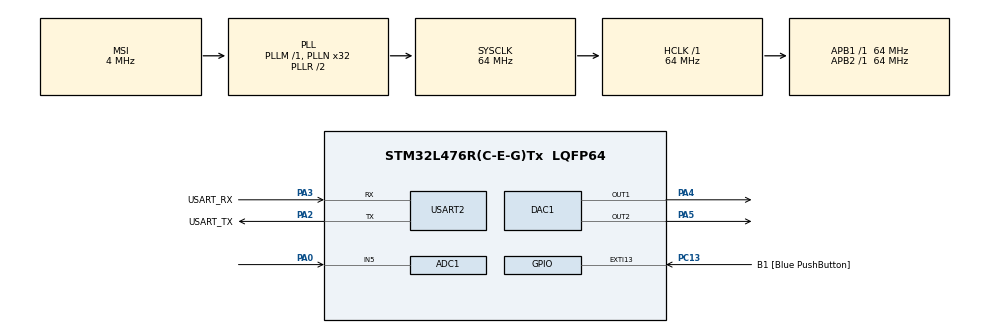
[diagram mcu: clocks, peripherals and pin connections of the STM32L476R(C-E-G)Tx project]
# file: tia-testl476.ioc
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ADC1.Channel-1\#ChannelRegularConversion=ADC_CHANNEL_5
ADC1.ClockPrescaler=ADC_CLOCK_ASYNC_DIV2
ADC1.DMAContinuousRequests=DISABLE
ADC1.EnableRegularConversion=ENABLE
ADC1.ExternalTrigConv=ADC_SOFTWARE_START
ADC1.NbrOfConversion=1
ADC1.NbrOfConversionFlag=1
ADC1.OffsetNumber-1\#ChannelRegularConversion=ADC_OFFSET_NONE
ADC1.Rank-1\#ChannelRegularConversion=1
ADC1.SamplingTime-1\#ChannelRegularConversion=ADC_SAMPLETIME_2CYCLES_5
ADC1.master=1
DAC1.DAC_Channel-DAC_OUT2=DAC_CHANNEL_2
DAC1.DAC_Trigger-DAC_OUT2=DAC_TRIGGER_T6_TRGO
Dma.ADC1.0.Direction=DMA_PERIPH_TO_MEMORY
Dma.ADC1.0.Instance=DMA1_Channel1
Dma.ADC1.0.MemDataAlignment=DMA_MDATAALIGN_HALFWORD
Dma.ADC1.0.MemInc=DMA_MINC_ENABLE
Dma.ADC1.0.Mode=DMA_CIRCULAR
Dma.ADC1.0.PeriphDataAlignment=DMA_PDATAALIGN_HALFWORD
Dma.ADC1.0.PeriphInc=DMA_PINC_DISABLE
Dma.ADC1.0.Priority=DMA_PRIORITY_LOW
Dma.DAC_CH2.1.Direction=DMA_MEMORY_TO_PERIPH
Dma.DAC_CH2.1.Instance=DMA1_Channel4
Dma.DAC_CH2.1.MemDataAlignment=DMA_MDATAALIGN_WORD
Dma.DAC_CH2.1.MemInc=DMA_MINC_ENABLE
Dma.DAC_CH2.1.Mode=DMA_CIRCULAR
Dma.DAC_CH2.1.PeriphDataAlignment=DMA_PDATAALIGN_WORD
Dma.DAC_CH2.1.PeriphInc=DMA_PINC_DISABLE
Dma.DAC_CH2.1.Priority=DMA_PRIORITY_LOW
Dma.Request0=ADC1
Dma.Request1=DAC_CH2
Mcu.Family=STM32L4
Mcu.Name=STM32L476R(C-E-G)Tx
Mcu.Package=LQFP64
NVIC.ADC1_2_IRQn=true\:0\:0\:false\:false\:true\:true\:true\:true
NVIC.DMA1_Channel1_IRQn=true\:0\:0\:false\:false\:true\:false\:true\:true
NVIC.DMA1_Channel4_IRQn=true\:0\:0\:false\:false\:true\:false\:true\:true
NVIC.PriorityGroup=NVIC_PRIORITYGROUP_4
NVIC.TIM6_DAC_IRQn=true\:0\:0\:false\:false\:true\:true\:true\:true
PA0.Signal=ADCx_IN5
PA13\ (JTMS-SWDIO).GPIO_Label=TMS
PA13\ (JTMS-SWDIO).Signal=SYS_JTMS-SWDIO
PA14\ (JTCK-SWCLK).GPIO_Label=TCK
PA14\ (JTCK-SWCLK).Signal=SYS_JTCK-SWCLK
PA2.GPIO_Label=USART_TX
PA2.GPIO_Mode=GPIO_MODE_AF_PP
PA2.GPIO_PuPd=GPIO_NOPULL
PA2.GPIO_Speed=GPIO_SPEED_FREQ_VERY_HIGH
PA2.Mode=Asynchronous
PA2.Signal=USART2_TX
PA3.GPIO_Label=USART_RX
PA3.GPIO_Mode=GPIO_MODE_AF_PP
PA3.GPIO_PuPd=GPIO_NOPULL
PA3.GPIO_Speed=GPIO_SPEED_FREQ_VERY_HIGH
PA3.Mode=Asynchronous
PA3.Signal=USART2_RX
PA4.Signal=COMP_DAC11_group
PA5.Signal=COMP_DAC12_group
PB3\ (JTDO-TRACESWO).GPIO_Label=SWO
PB3\ (JTDO-TRACESWO).Signal=SYS_JTDO-SWO
PC13.GPIO_Label=B1 [Blue PushButton]
PC13.GPIO_ModeDefaultEXTI=GPIO_MODE_IT_FALLING
PC13.GPIO_PuPd=GPIO_NOPULL
PC13.Signal=GPXTI13
PC14-OSC32_IN\ (PC14).Signal=RCC_OSC32_IN
PC15-OSC32_OUT\ (PC15).Signal=RCC_OSC32_OUT
PH0-OSC_IN\ (PH0).Signal=RCC_OSC_IN
PH1-OSC_OUT\ (PH1).Signal=RCC_OSC_OUT
ProjectManager.HeapSize=0x200
ProjectManager.StackSize=0x400
ProjectManager.TargetToolchain=STM32CubeIDE
RCC.ADCFreq_Value=8000000
RCC.AHBFreq_Value=64000000
RCC.APB1Freq_Value=64000000
RCC.APB1TimFreq_Value=64000000
RCC.APB2Freq_Value=64000000
RCC.APB2TimFreq_Value=64000000
RCC.CortexFreq_Value=64000000
RCC.HCLKFreq_Value=64000000
RCC.HSE_VALUE=8000000
RCC.HSI_VALUE=16000000
RCC.LSE_VALUE=32768
RCC.MSI_VALUE=4000000
RCC.PLLN=32
RCC.PLLSAI1N=16
RCC.PLLSAI1R=RCC_PLLR_DIV8
RCC.PREFETCH_ENABLE=1
RCC.SYSCLKFreq_VALUE=64000000
RCC.SYSCLKSource=RCC_SYSCLKSOURCE_PLLCLK
RCC.USBFreq_Value=32000000
RCC.VCOOutputFreq_Value=128000000
SH.ADCx_IN5.0=ADC1_IN5,IN5-Single-Ended
SH.COMP_DAC11_group.0=DAC1_OUT1,DAC_OUT1
SH.COMP_DAC12_group.0=DAC1_OUT2,DAC_OUT2
TIM1.Period=9
TIM1.Prescaler=624
TIM1.TIM_MasterOutputTrigger=TIM_TRGO_UPDATE
TIM1.TIM_MasterOutputTrigger2=TIM_TRGO2_UPDATE
TIM1.TIM_MasterSlaveMode=TIM_MASTERSLAVEMODE_ENABLE
TIM6.Period=9
TIM6.Prescaler=63
TIM6.TIM_MasterOutputTrigger=TIM_TRGO_UPDATE
USART2.VirtualMode-Asynchronous=VM_ASYNC
VP_TIM1_VS_ClockSourceINT.Mode=Internal
VP_TIM6_VS_ClockSourceINT.Mode=Enable_Timer
board=NUCLEO-L476RG

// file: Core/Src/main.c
/* USER CODE BEGIN Header */
/**
  ******************************************************************************
  * @file           : main.c
  * @brief          : Main program body
  ******************************************************************************
  * @attention
  *
  * Copyright (c) 2025 STMicroelectronics.
  * All rights reserved.
  *
  * This software is licensed under terms that can be found in the LICENSE file
  * in the root directory of this software component.
  * If no LICENSE file comes with this software, it is provided AS-IS.
  *
  ******************************************************************************
  */
/* USER CODE END Header */
#include "main.h"

/* USER CODE BEGIN Includes */
#define ARM_MATH_CM4
#include "arm_math.h"
#include "math.h"
#define PI 3.1415926
#define TOLERANCE 1e-5
/* USER CODE END Includes */

ADC_HandleTypeDef hadc1;
DMA_HandleTypeDef hdma_adc1;

DAC_HandleTypeDef hdac1;
DMA_HandleTypeDef hdma_dac_ch2;

TIM_HandleTypeDef htim1;
TIM_HandleTypeDef htim6;

UART_HandleTypeDef huart2;

/* USER CODE BEGIN PV */
#define FFT_BUFFER_SIZE 2048
#define SAMPLE_FREQ 10240
#define FFT_AVRAGE_COUNT 10

uint32_t sine_val[100];
uint16_t hanning_array[FFT_BUFFER_SIZE];

double getPhaseAngle(int val) {
  // Reverse the transformation steps
  double temp = (val - 200) * 5;           // Reverse the +200 and division by 5
  double normalized = temp / 2048.0;       // Reverse the multiplication by 2048
  double sine_val = normalized - 1.0;      // Reverse the +1

  // Ensure sine_val is within valid range [-1, 1] for arcsin
  if (sine_val < -1.0 || sine_val > 1.0) {
      return NAN; // Invalid input, return Not-A-Number
  }

  // Calculate the phase angle in radians using arcsin
  double phase_rad = asin(sine_val);

  return phase_rad;  // Return the phase angle in radians
}

void calcsin ()
{
	for (int i=0; i<100; i++)
	{
		sine_val[i] = ((sin(i*2*PI/100) + 1)*(4096/2))/5+200;
	}
}

void calchanning(){
	for (int i = 0; i < FFT_BUFFER_SIZE; i++) {
	        hanning_array[i] = (int)(0.5 * (1 - cos(2 * M_PI * i / (FFT_BUFFER_SIZE - 1))) * 4096);
	    }
}
//only j1 and j2
float bessel_jn(uint8_t n, float x) {
    float sum = 0.0;
    float term;
    uint16_t k = 0;

    do {
        term = pow(-1, k) * pow(x / 2.0, 2 * k + n) / (tgamma(k + 1) * tgamma(k + n + 1));
        sum += term;
        k++;
    } while (fabs(term) > TOLERANCE);

    return sum;
}

int sgn(float x) {
    if(x>=0){
    	return 1;
    }
    else{
    	return -1;
    }
}
float arccot(float x) {
    return (PI / 2.0) - atan(x);
}

arm_rfft_fast_instance_f32 fftHandler;
uint16_t ADC_val[FFT_BUFFER_SIZE*2] = {0};
float fftBufIn1[FFT_BUFFER_SIZE]= {0.0};
float fftBufIn2[FFT_BUFFER_SIZE]= {0.0};
float fftBufOut[FFT_BUFFER_SIZE];
uint8_t fftflag = 0;
static int16_t fftIndex = 0;
uint8_t data[50] = {0};
uint16_t fft_count = 0;
//avg used for noise
uint32_t avg =0;
//calculate # sample is 1khz

uint16_t sample_count_1khz = (1000*FFT_BUFFER_SIZE)/SAMPLE_FREQ;
uint32_t freq_mag[3]={0};
float avgPhaseShift = 0.0;
float avgPhase1 = 0.0;
float avgPhase2 = 0.0;

/* USER CODE END PV */

void SystemClock_Config(void);
static void MX_GPIO_Init(void);
static void MX_DMA_Init(void);
static void MX_ADC1_Init(void);
static void MX_DAC1_Init(void);
static void MX_TIM6_Init(void);
static void MX_TIM1_Init(void);
static void MX_USART2_UART_Init(void);

/* USER CODE BEGIN 0 */
uint32_t Read_ADC(void) {
    HAL_ADC_Start(&hadc1);
    HAL_ADC_PollForConversion(&hadc1, HAL_MAX_DELAY);
    return HAL_ADC_GetValue(&hadc1);
}

void HAL_ADC_ConvHalfCpltCallback(ADC_HandleTypeDef *hadc) {
  for (int i = 0; i < FFT_BUFFER_SIZE ; i++) {
fftBufIn1[i] = (float)(ADC_val[i]*hanning_array[i]);
  }
  //sprintf(data, "half buffer\r\n\n ");
  //HAL_UART_Transmit(&huart2, data, strlen(data), 100);
  Calc_FFT(fftBufIn1);
}

void HAL_ADC_ConvCpltCallback(ADC_HandleTypeDef *hadc) {
for (int i = 0; i < FFT_BUFFER_SIZE; i++) {
fftBufIn2[i] = (float)(ADC_val[i]*hanning_array[i]);
  }
  //sprintf(data, "full buffer\r\n\n " );
  //HAL_UART_Transmit(&huart2, data, strlen(data), 100);
  Calc_FFT(fftBufIn2);
}

void Calc_FFT(float *fftBufIn ){

arm_rfft_fast_f32(&fftHandler, fftBufIn, &fftBufOut,0);

float phase_1khz = 0.0f, phase_2khz = 0.0f;
//calc freqmagnitude for 1,2,3khz
float phase_shift_diff = 0.0;
float dacval = 0.0f;
for (int i = sample_count_1khz; i <= sample_count_1khz*3; i +=sample_count_1khz){
      float real = fftBufOut[2*i ];
      float imag = fftBufOut[(2*i) + 1];
      float curVal = sqrtf((real * real) + (imag * imag));
      float phase = atan2f(imag, real);
      if (i == sample_count_1khz) {
          phase_1khz = phase;
      } else if (i == sample_count_1khz * 2) {
          phase_2khz = phase;
          phase_shift_diff = phase_2khz;
          //dacval= getPhaseAngle(HAL_DAC_GetValue(&hdac1, DAC1_CHANNEL_2));

      }

  freq_mag[i/sample_count_1khz-1]+=((uint32_t)curVal)/1000;
    //sprintf(data, "%d \r\n", (int16_t)(dacval*1000));
    //HAL_UART_Transmit(&huart2, data, strlen(data), 100);

}
//sprintf(data, "%d ", (int16_t)(phase_2khz*1000));
//HAL_UART_Transmit(&huart2, data, strlen(data), 100);

  avgPhaseShift += phase_shift_diff;
  fft_count++;

  uint32_t avgTemp = 0;

  for (int i = 4; i < FFT_BUFFER_SIZE; i +=2){
    float curVal = sqrtf((fftBufOut[i]*fftBufOut[i])+ (fftBufOut[i+1]*fftBufOut[i+1]));
    avgTemp += ((uint32_t)curVal)/1000;  // Convert float to

  }
  avg += ((uint32_t)avgTemp/((FFT_BUFFER_SIZE / 2)-2));

//old code, peakHz detector
/*
uint16_t freqIndex = 0;
float peakVal =0.0;
uint16_t peakHz = 0;
for (int i = 0; i < FFT_BUFFER_SIZE; i +=2){
 float curVal = sqrtf((fftBufOut[i]*fftBufOut[i])+ (fftBufOut[i+1]*fftBufOut[i+1]));
 uint16_t fft_value = (uint32_t)curVal;  // Convert float to

 if(curVal> peakVal){
   if(i>2){
    peakVal = curVal;
   }
   peakHz = (uint16_t)(((freqIndex)*SAMPLE_FREQ)/FFT_BUFFER_SIZE);
 }
freqIndex++;

}

sprintf(data, "peakhz: %d ",peakHz);
       HAL_UART_Transmit(&huart2, data, strlen(data), 100);

  freqIndex = 0;
*/

}
/* USER CODE END 0 */

int main(void)
{

  /* MCU Configuration--------------------------------------------------------*/

  /* Reset of all peripherals, Initializes the Flash interface and the Systick. */
  HAL_Init();

  /* Configure the system clock */
  SystemClock_Config();

  /* Initialize all configured peripherals */
  MX_GPIO_Init();
  MX_DMA_Init();
  MX_ADC1_Init();
  MX_DAC1_Init();
  MX_TIM6_Init();
  MX_TIM1_Init();
  MX_USART2_UART_Init();
  /* USER CODE BEGIN 2 */

  //start sweep for mzm bias and calculate bias on midpoint between min and max output current
#define STEP_SIZE_BIAS_SWEEP 16
  uint32_t adc_val[128]={0};
  uint16_t dac_val[128]={0};
  uint16_t index_adc_val_smallest=0;
  uint16_t index_adc_val_highest=0;
  HAL_DAC_Start(&hdac1,DAC_CHANNEL_1);
  Read_ADC();
  /*for(int i = 0; i< 2048; i+=STEP_SIZE_BIAS_SWEEP){
	  //take avrage of 10values
	  sprintf(data, "set to:%d\r\n\n ",i);
	  HAL_UART_Transmit(&huart2, data, strlen(data), 100);
	  HAL_DAC_SetValue(&hdac1, DAC_CHANNEL_1,DAC_ALIGN_12B_R, i);
	  for(int j = 0; j<20;j++){
		  HAL_Delay(2);
		  adc_val[i/STEP_SIZE_BIAS_SWEEP] += Read_ADC();
	  }
	  //keep highest and lowest adc values
	  if(adc_val[i/STEP_SIZE_BIAS_SWEEP]>=adc_val[index_adc_val_highest]){
		  index_adc_val_highest = i/STEP_SIZE_BIAS_SWEEP;
	  }else if(adc_val[i/STEP_SIZE_BIAS_SWEEP]<=adc_val[index_adc_val_smallest]){
		  index_adc_val_smallest = i/STEP_SIZE_BIAS_SWEEP;
	  }
	  dac_val[i/STEP_SIZE_BIAS_SWEEP] = i;
	  HAL_Delay(10);
  }
  //set dac to midpoint   */
  uint16_t midpoint_dac_val = dac_val[(index_adc_val_highest + index_adc_val_smallest) / 2];

  midpoint_dac_val = 0;
  HAL_DAC_SetValue(&hdac1, DAC_CHANNEL_1, DAC_ALIGN_12B_R, midpoint_dac_val  );
  sprintf(data, "bias set as:%d\r\n\n ",midpoint_dac_val);
  HAL_UART_Transmit(&huart2, data, strlen(data), 100);

  //reset the adc
  HAL_ADC_Stop(&hadc1);
  //ADC_Disable(&hadc1);
  MX_ADC1_Init2();

  HAL_TIM_Base_Start(&htim6);
  calcsin();
  calchanning();
  HAL_ADCEx_Calibration_Start(&hadc1, ADC_SINGLE_ENDED);
  HAL_DAC_Start_DMA(&hdac1, DAC1_CHANNEL_2, sine_val, 100, DAC_ALIGN_12B_R);
  HAL_ADC_Start_DMA(&hadc1,(uint32_t *)ADC_val,FFT_BUFFER_SIZE*2);
  arm_rfft_fast_init_f32(&fftHandler,FFT_BUFFER_SIZE);
  HAL_TIM_Base_Start(&htim1);

  /* USER CODE END 2 */

  /* Infinite loop */
  /* USER CODE BEGIN WHILE */
  uint16_t dac_val_tone_bias[3]={0};
  uint32_t adc_val_tone_bias[3]={0};
  int16_t sweep_count = -1;
  uint16_t prev_bias = 0;
  while (1)
  {

	  //for(int sweep = midpoint_dac_val-STEP_SIZE_BIAS_SWEEP; i<midpoint_dac_val+STEP_SIZE_BIAS_SWEEP; i+=STEP_SIZE_BIAS_SWEEP)
	  //sweep through best known value of bias, one below and one above
	  if(fft_count>=FFT_AVRAGE_COUNT){
		  float phaseShift = avgPhaseShift/ fft_count;

  		  //sprintf(data, "2khz: %d,1khz: %d \r\n\n", (int16_t)(avgPhase2*1000),(int16_t)(avgPhase1*1000));
  		  //HAL_UART_Transmit(&huart2, data, strlen(data), 100);

		  fft_count=0;
		  sprintf(data, "dac: %d 1khz: %d 2khz: %d 3khz: %d\r\n ",midpoint_dac_val,freq_mag[0], freq_mag[1] ,freq_mag[2]);
		  HAL_UART_Transmit(&huart2, data, strlen(data), 100);
		    if (phaseShift> PI) {
		    	//phaseShift -= 2 * PI;
		    } else if (phaseShift < PI) {
		    	//phaseShift+= 2 * PI;
		    }

			  //sprintf(data, "dac: %d phase shift: %d\r\n ",midpoint_dac_val,(int16_t)(phaseShift*1000));
			  //HAL_UART_Transmit(&huart2, data, strlen(data), 100);
		  // divided by 4096# points dac multiplied by non inverting amp 14.124 = 3.3V*82k/25k+1

			  //code from paper
		  //float Vpi = ((midpoint_dac_val*13.724)/4096.0)*2;
		  //float Vac = 0.66;
		  //float correction =(Vpi/PI*arccot(((float)freq_mag[1]*bessel_jn(1,((Vac*PI)/Vpi)))/((float)freq_mag[0]*bessel_jn(2,((Vac*PI)/Vpi))))*sgn(phaseShift));//-(Vpi/2);
		  //midpoint_dac_val = midpoint_dac_val - (int16_t)((correction/13.724)*4096);
		  //fixed offset
			  //sprintf(data, "avg: %d\r\n\n ",avg);
			  //HAL_UART_Transmit(&huart2, data, strlen(data), 100);
		  if(freq_mag[1]> 0){
			  float correction2 =5*sgn(avgPhase2);
			  midpoint_dac_val= midpoint_dac_val+2;
			  if(midpoint_dac_val>3700){
				  midpoint_dac_val = 0;
			  }
			  //sprintf(data, "correction: %d\r\n\n ",(int16_t)(correction2));
			  //HAL_UART_Transmit(&huart2, data, strlen(data), 100);
		  }
		  avg = 0;
		  //sprintf(data, "new dac val: %d\r\n\n ",midpoint_dac_val);
		  //HAL_UART_Transmit(&huart2, data, strlen(data), 100);
		  HAL_DAC_SetValue(&hdac1, DAC_CHANNEL_1, DAC_ALIGN_12B_R, midpoint_dac_val);

	  		fft_count=0;
	  		avgPhaseShift = 0;
			  for(int i =0;i<=2;i++){
				  freq_mag[i]=0;
			  }
			  fft_count=0;
	  }

/*
	  //for(int sweep = midpoint_dac_val-STEP_SIZE_BIAS_SWEEP; i<midpoint_dac_val+STEP_SIZE_BIAS_SWEEP; i+=STEP_SIZE_BIAS_SWEEP)
	  //sweep through best known value of bias, one below and one above

	  if(fft_count>=FFT_AVRAGE_COUNT){
		  sprintf(data, "main");
		  HAL_UART_Transmit(&huart2, data, strlen(data), 100);
		  float phaseShift = avgPhaseShift/= fft_count;

		  fft_count=0;
		    if (phaseShift> PI) {
		    	phaseShift -= 2 * PI;
		    } else if (phaseShift < -PI) {
		    	phaseShift+= 2 * PI;
		    }
		  // divided by 4096# points dac multiplied by non inverting amp 14.124 = 3.3V*82k/25k+1
		  float Vpi = ((midpoint_dac_val*14.124)/4096.0)*2;
		  float Vac = 0.66;
		  float correction =(Vpi/PI*arccot((freq_mag[0]*bessel_jn(1,((Vac*PI)/Vpi)))/(freq_mag[1]*bessel_jn(2,((Vac*PI)/Vpi))))*sgn(avgPhaseShift))-(Vpi/2);
		  sprintf(data, "correction: %d\r\n\n ",(uint16_t)correction);
		  HAL_UART_Transmit(&huart2, data, strlen(data), 100);

		  midpoint_dac_val = midpoint_dac_val + (uint16_t)((correction/14.124)*4096);
		  HAL_DAC_SetValue(&hdac1, DAC_CHANNEL_1, DAC_ALIGN_12B_R, midpoint_dac_val);

		  //process data here

	  		fft_count=0;
	  		avgPhaseShift = 0;
			  for(int i =0;i<=2;i++){
				  freq_mag[i]=0;
			  }
			  fft_count=0;
	  }
	  */

    /* USER CODE END WHILE */

  }
}

void SystemClock_Config(void)
{
  RCC_OscInitTypeDef RCC_OscInitStruct = {0};
  RCC_ClkInitTypeDef RCC_ClkInitStruct = {0};

  /** Configure the main internal regulator output voltage
  */
  if (HAL_PWREx_ControlVoltageScaling(PWR_REGULATOR_VOLTAGE_SCALE1) != HAL_OK)
  {
    Error_Handler();
  }

  /** Initializes the RCC Oscillators according to the specified parameters
  * in the RCC_OscInitTypeDef structure.
  */
  RCC_OscInitStruct.OscillatorType = RCC_OSCILLATORTYPE_MSI;
  RCC_OscInitStruct.MSIState = RCC_MSI_ON;
  RCC_OscInitStruct.MSICalibrationValue = 0;
  RCC_OscInitStruct.MSIClockRange = RCC_MSIRANGE_6;
  RCC_OscInitStruct.PLL.PLLState = RCC_PLL_ON;
  RCC_OscInitStruct.PLL.PLLSource = RCC_PLLSOURCE_MSI;
  RCC_OscInitStruct.PLL.PLLM = 1;
  RCC_OscInitStruct.PLL.PLLN = 32;
  RCC_OscInitStruct.PLL.PLLP = RCC_PLLP_DIV7;
  RCC_OscInitStruct.PLL.PLLQ = RCC_PLLQ_DIV2;
  RCC_OscInitStruct.PLL.PLLR = RCC_PLLR_DIV2;
  if (HAL_RCC_OscConfig(&RCC_OscInitStruct) != HAL_OK)
  {
    Error_Handler();
  }

  /** Initializes the CPU, AHB and APB buses clocks
  */
  RCC_ClkInitStruct.ClockType = RCC_CLOCKTYPE_HCLK|RCC_CLOCKTYPE_SYSCLK
                              |RCC_CLOCKTYPE_PCLK1|RCC_CLOCKTYPE_PCLK2;
  RCC_ClkInitStruct.SYSCLKSource = RCC_SYSCLKSOURCE_PLLCLK;
  RCC_ClkInitStruct.AHBCLKDivider = RCC_SYSCLK_DIV1;
  RCC_ClkInitStruct.APB1CLKDivider = RCC_HCLK_DIV1;
  RCC_ClkInitStruct.APB2CLKDivider = RCC_HCLK_DIV1;

  if (HAL_RCC_ClockConfig(&RCC_ClkInitStruct, FLASH_LATENCY_3) != HAL_OK)
  {
    Error_Handler();
  }
}

static void MX_ADC1_Init(void)
{

  ADC_MultiModeTypeDef multimode = {0};
  ADC_ChannelConfTypeDef sConfig = {0};

  /** Common config
  */
  hadc1.Instance = ADC1;
  hadc1.Init.ClockPrescaler = ADC_CLOCK_ASYNC_DIV2;
  hadc1.Init.Resolution = ADC_RESOLUTION_12B;
  hadc1.Init.DataAlign = ADC_DATAALIGN_RIGHT;
  hadc1.Init.ScanConvMode = ADC_SCAN_DISABLE;
  hadc1.Init.EOCSelection = ADC_EOC_SINGLE_CONV;
  hadc1.Init.LowPowerAutoWait = DISABLE;
  hadc1.Init.ContinuousConvMode = DISABLE;
  hadc1.Init.NbrOfConversion = 1;
  hadc1.Init.DiscontinuousConvMode = DISABLE;
  hadc1.Init.ExternalTrigConv = ADC_SOFTWARE_START;
  hadc1.Init.ExternalTrigConvEdge = ADC_EXTERNALTRIGCONVEDGE_NONE;
  hadc1.Init.DMAContinuousRequests = DISABLE;
  hadc1.Init.Overrun = ADC_OVR_DATA_PRESERVED;
  hadc1.Init.OversamplingMode = DISABLE;
  if (HAL_ADC_Init(&hadc1) != HAL_OK)
  {
    Error_Handler();
  }

  /** Configure the ADC multi-mode
  */
  multimode.Mode = ADC_MODE_INDEPENDENT;
  if (HAL_ADCEx_MultiModeConfigChannel(&hadc1, &multimode) != HAL_OK)
  {
    Error_Handler();
  }

  /** Configure Regular Channel
  */
  sConfig.Channel = ADC_CHANNEL_5;
  sConfig.Rank = ADC_REGULAR_RANK_1;
  sConfig.SamplingTime = ADC_SAMPLETIME_2CYCLES_5;
  sConfig.SingleDiff = ADC_SINGLE_ENDED;
  sConfig.OffsetNumber = ADC_OFFSET_NONE;
  sConfig.Offset = 0;
  if (HAL_ADC_ConfigChannel(&hadc1, &sConfig) != HAL_OK)
  {
    Error_Handler();
  }

}

static void MX_DAC1_Init(void)
{

  DAC_ChannelConfTypeDef sConfig = {0};

  /** DAC Initialization
  */
  hdac1.Instance = DAC1;
  if (HAL_DAC_Init(&hdac1) != HAL_OK)
  {
    Error_Handler();
  }

  /** DAC channel OUT1 config
  */
  sConfig.DAC_SampleAndHold = DAC_SAMPLEANDHOLD_DISABLE;
  sConfig.DAC_Trigger = DAC_TRIGGER_NONE;
  sConfig.DAC_OutputBuffer = DAC_OUTPUTBUFFER_ENABLE;
  sConfig.DAC_ConnectOnChipPeripheral = DAC_CHIPCONNECT_DISABLE;
  sConfig.DAC_UserTrimming = DAC_TRIMMING_FACTORY;
  if (HAL_DAC_ConfigChannel(&hdac1, &sConfig, DAC_CHANNEL_1) != HAL_OK)
  {
    Error_Handler();
  }

  /** DAC channel OUT2 config
  */
  sConfig.DAC_Trigger = DAC_TRIGGER_T6_TRGO;
  if (HAL_DAC_ConfigChannel(&hdac1, &sConfig, DAC_CHANNEL_2) != HAL_OK)
  {
    Error_Handler();
  }

}

static void MX_TIM1_Init(void)
{

  TIM_ClockConfigTypeDef sClockSourceConfig = {0};
  TIM_MasterConfigTypeDef sMasterConfig = {0};

  htim1.Instance = TIM1;
  htim1.Init.Prescaler = 624;
  htim1.Init.CounterMode = TIM_COUNTERMODE_UP;
  htim1.Init.Period = 9;
  htim1.Init.ClockDivision = TIM_CLOCKDIVISION_DIV1;
  htim1.Init.RepetitionCounter = 0;
  htim1.Init.AutoReloadPreload = TIM_AUTORELOAD_PRELOAD_DISABLE;
  if (HAL_TIM_Base_Init(&htim1) != HAL_OK)
  {
    Error_Handler();
  }
  sClockSourceConfig.ClockSource = TIM_CLOCKSOURCE_INTERNAL;
  if (HAL_TIM_ConfigClockSource(&htim1, &sClockSourceConfig) != HAL_OK)
  {
    Error_Handler();
  }
  sMasterConfig.MasterOutputTrigger = TIM_TRGO_UPDATE;
  sMasterConfig.MasterOutputTrigger2 = TIM_TRGO2_UPDATE;
  sMasterConfig.MasterSlaveMode = TIM_MASTERSLAVEMODE_ENABLE;
  if (HAL_TIMEx_MasterConfigSynchronization(&htim1, &sMasterConfig) != HAL_OK)
  {
    Error_Handler();
  }

}

static void MX_TIM6_Init(void)
{

  TIM_MasterConfigTypeDef sMasterConfig = {0};

  htim6.Instance = TIM6;
  htim6.Init.Prescaler = 63;
  htim6.Init.CounterMode = TIM_COUNTERMODE_UP;
  htim6.Init.Period = 9;
  htim6.Init.AutoReloadPreload = TIM_AUTORELOAD_PRELOAD_DISABLE;
  if (HAL_TIM_Base_Init(&htim6) != HAL_OK)
  {
    Error_Handler();
  }
  sMasterConfig.MasterOutputTrigger = TIM_TRGO_UPDATE;
  sMasterConfig.MasterSlaveMode = TIM_MASTERSLAVEMODE_DISABLE;
  if (HAL_TIMEx_MasterConfigSynchronization(&htim6, &sMasterConfig) != HAL_OK)
  {
    Error_Handler();
  }

}

static void MX_USART2_UART_Init(void)
{

  huart2.Instance = USART2;
  huart2.Init.BaudRate = 115200;
  huart2.Init.WordLength = UART_WORDLENGTH_8B;
  huart2.Init.StopBits = UART_STOPBITS_1;
  huart2.Init.Parity = UART_PARITY_NONE;
  huart2.Init.Mode = UART_MODE_TX_RX;
  huart2.Init.HwFlowCtl = UART_HWCONTROL_NONE;
  huart2.Init.OverSampling = UART_OVERSAMPLING_16;
  huart2.Init.OneBitSampling = UART_ONE_BIT_SAMPLE_DISABLE;
  huart2.AdvancedInit.AdvFeatureInit = UART_ADVFEATURE_NO_INIT;
  if (HAL_UART_Init(&huart2) != HAL_OK)
  {
    Error_Handler();
  }

}

static void MX_DMA_Init(void)
{

  /* DMA controller clock enable */
  __HAL_RCC_DMA1_CLK_ENABLE();

  /* DMA interrupt init */
  /* DMA1_Channel1_IRQn interrupt configuration */
  HAL_NVIC_SetPriority(DMA1_Channel1_IRQn, 0, 0);
  HAL_NVIC_EnableIRQ(DMA1_Channel1_IRQn);
  /* DMA1_Channel4_IRQn interrupt configuration */
  HAL_NVIC_SetPriority(DMA1_Channel4_IRQn, 0, 0);
  HAL_NVIC_EnableIRQ(DMA1_Channel4_IRQn);

}

static void MX_GPIO_Init(void)
{
  GPIO_InitTypeDef GPIO_InitStruct = {0};

  /* GPIO Ports Clock Enable */
  __HAL_RCC_GPIOC_CLK_ENABLE();
  __HAL_RCC_GPIOH_CLK_ENABLE();
  __HAL_RCC_GPIOA_CLK_ENABLE();
  __HAL_RCC_GPIOB_CLK_ENABLE();

  /*Configure GPIO pin : B1_Pin */
  GPIO_InitStruct.Pin = B1_Pin;
  GPIO_InitStruct.Mode = GPIO_MODE_IT_FALLING;
  GPIO_InitStruct.Pull = GPIO_NOPULL;
  HAL_GPIO_Init(B1_GPIO_Port, &GPIO_InitStruct);

}

/* USER CODE BEGIN 4 */
void MX_ADC1_Init2(void)
{

  /* USER CODE BEGIN ADC1_Init 0 */

  /* USER CODE END ADC1_Init 0 */

  ADC_MultiModeTypeDef multimode = {0};
  ADC_ChannelConfTypeDef sConfig = {0};

  /* USER CODE BEGIN ADC1_Init 1 */

  /* USER CODE END ADC1_Init 1 */

  /** Common config
  */
  hadc1.Instance = ADC1;
  hadc1.Init.ClockPrescaler = ADC_CLOCK_ASYNC_DIV2;
  hadc1.Init.Resolution = ADC_RESOLUTION_12B;
  hadc1.Init.DataAlign = ADC_DATAALIGN_RIGHT;
  hadc1.Init.ScanConvMode = ADC_SCAN_DISABLE;
  hadc1.Init.EOCSelection = ADC_EOC_SINGLE_CONV;
  hadc1.Init.LowPowerAutoWait = DISABLE;
  hadc1.Init.ContinuousConvMode = DISABLE;
  hadc1.Init.NbrOfConversion = 1;
  hadc1.Init.DiscontinuousConvMode = DISABLE;
  hadc1.Init.ExternalTrigConv = ADC_EXTERNALTRIG_T1_TRGO;
  hadc1.Init.ExternalTrigConvEdge = ADC_EXTERNALTRIGCONVEDGE_RISING;
  hadc1.Init.DMAContinuousRequests = ENABLE;
  hadc1.Init.Overrun = ADC_OVR_DATA_PRESERVED;
  hadc1.Init.OversamplingMode = DISABLE;
  if (HAL_ADC_Init(&hadc1) != HAL_OK)
  {
    Error_Handler();
  }

  /** Configure the ADC multi-mode
  */
  multimode.Mode = ADC_MODE_INDEPENDENT;
  if (HAL_ADCEx_MultiModeConfigChannel(&hadc1, &multimode) != HAL_OK)
  {
    Error_Handler();
  }

  /** Configure Regular Channel
  */
  sConfig.Channel = ADC_CHANNEL_5;
  sConfig.Rank = ADC_REGULAR_RANK_1;
  sConfig.SamplingTime = ADC_SAMPLETIME_2CYCLES_5;
  sConfig.SingleDiff = ADC_SINGLE_ENDED;
  sConfig.OffsetNumber = ADC_OFFSET_NONE;
  sConfig.Offset = 0;
  if (HAL_ADC_ConfigChannel(&hadc1, &sConfig) != HAL_OK)
  {
    Error_Handler();
  }
  /* USER CODE BEGIN ADC1_Init 2 */

  /* USER CODE END ADC1_Init 2 */

}

/* USER CODE END 4 */

void Error_Handler(void)
{
  __disable_irq();
  while (1)
  {
  }
}
